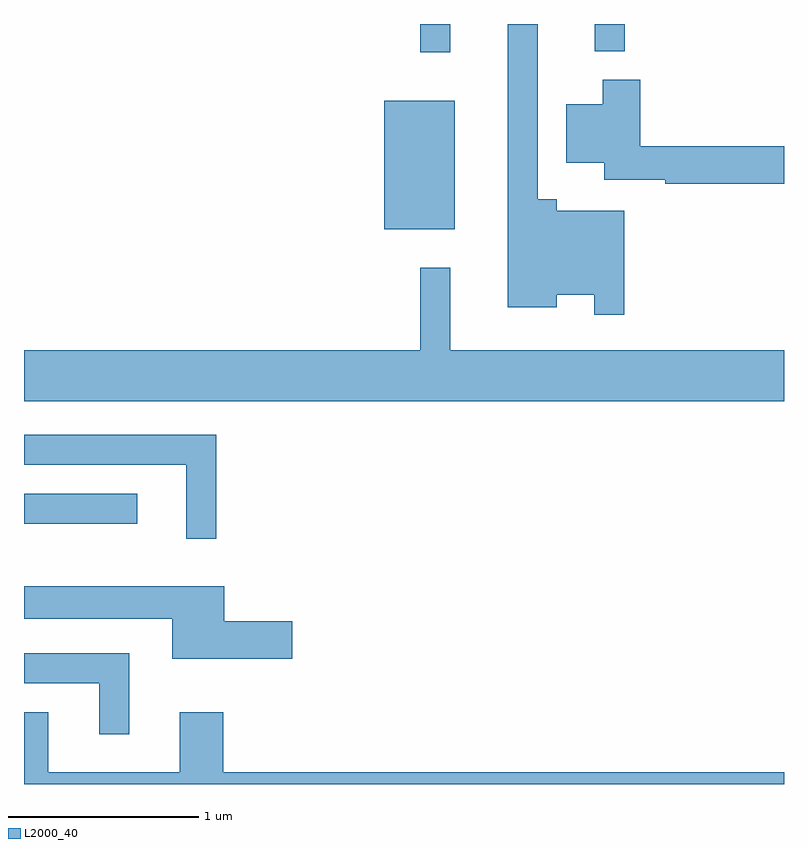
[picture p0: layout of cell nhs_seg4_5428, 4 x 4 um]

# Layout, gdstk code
import gdstk
lib = gdstk.Library(unit=1e-6, precision=1e-09)
def R(c, l, rs):  # rectangles x0, y0, x1, y1
    for r in rs: c.add(gdstk.rectangle(r[:2], r[2:], *l))
def P(c, l, *ps):  # polygons
    for p in ps: c.add(gdstk.Polygon(p, *l))
L2000_40 = (2000, 40)

nhs_seg4_5428 = lib.new_cell('nhs_seg4_5428')
R(nhs_seg4_5428, L2000_40, [(343.611,1367.351,344.208,1367.509), (345.506,1368.901,345.879,1369.579), (345.696,1369.833,345.854,1369.982), (346.616,1369.838,346.774,1369.982)])
P(nhs_seg4_5428, L2000_40, [(346.769,1368.999),(346.414,1368.999),(346.414,1369.059),(346.314,1369.059),(346.314,1369.982),(346.156,1369.982),(346.156,1368.491),(346.414,1368.491),(346.414,1368.556),(346.611,1368.556),(346.611,1368.453),(346.769,1368.453)],
  [(347.611,1369.339),(346.854,1369.339),(346.854,1369.689),(346.656,1369.689),(346.656,1369.559),(346.466,1369.559),(346.466,1369.251),(346.666,1369.251),(346.666,1369.161),(346.986,1369.161),(346.986,1369.141),(347.611,1369.141)],
  [(347.611,1368.264),(345.854,1368.264),(345.854,1368.698),(345.696,1368.698),(345.696,1368.264),(343.611,1368.264),(343.611,1367.996),(347.611,1367.996)],
  [(344.624,1367.819),(343.611,1367.819),(343.611,1367.661),(344.466,1367.661),(344.466,1367.273),(344.624,1367.273)],
  [(345.024,1366.839),(344.664,1366.839),(344.664,1367.024),(343.611,1367.024),(343.611,1366.851),(344.391,1366.851),(344.391,1366.641),(345.024,1366.641)],
  [(344.164,1366.669),(343.611,1366.669),(343.611,1366.511),(344.006,1366.511),(344.006,1366.243),(344.164,1366.243)],
  [(347.611,1366.044),(344.659,1366.044),(344.659,1366.359),(344.431,1366.359),(344.431,1366.044),(343.739,1366.044),(343.739,1366.359),(343.611,1366.359),(343.611,1365.982),(347.611,1365.982)])

lib.write_gds('nhs_seg4_5428.gds')
